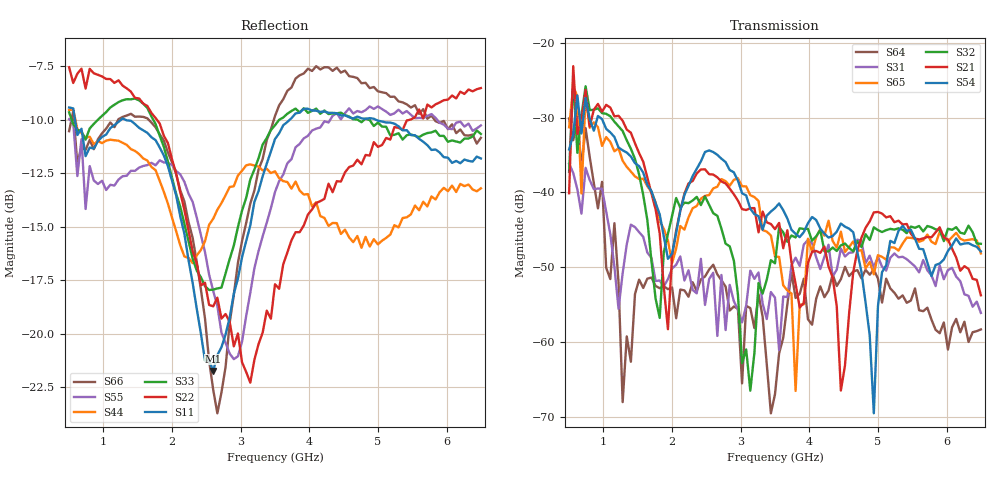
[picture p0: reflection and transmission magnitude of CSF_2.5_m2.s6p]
!Keysight Technologies,M9804A,MY58100912,A.14.10.03
!Date: Thursday, April 27, 2023 10:28:33
!Correction: S11(C  6-Port  )
!S12(C  6-Port  )
!S13(C  6-Port  )
!S14(C  6-Port  )
!S15(C  6-Port  )
!S16(C  6-Port  )
!S21(C  6-Port  )
!S22(C  6-Port  )
!S23(C  6-Port  )
!S24(C  6-Port  )
!S25(C  6-Port  )
!S26(C  6-Port  )
!S31(C  6-Port  )
!S32(C  6-Port  )
!S33(C  6-Port  )
!S34(C  6-Port  )
!S35(C  6-Port  )
!S36(C  6-Port  )
!S41(C  6-Port  )
!S42(C  6-Port  )
!S43(C  6-Port  )
!S44(C  6-Port  )
!S45(C  6-Port  )
!S46(C  6-Port  )
!S51(C  6-Port  )
!S52(C  6-Port  )
!S53(C  6-Port  )
!S54(C  6-Port  )
!S55(C  6-Port  )
!S56(C  6-Port  )
!S61(C  6-Port  )
!S62(C  6-Port  )
!S63(C  6-Port  )
!S64(C  6-Port  )
!S65(C  6-Port  )
!S66(C  6-Port  )
!S6P File: Measurement: :
# Hz S  RI  R 50
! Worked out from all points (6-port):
!   101 points, 500 MHz to 6.5 GHz, reference 50 ohm
!   strongest paths, dB at 500 MHz, 2 GHz, 3.5 GHz, 5 GHz, 6.5 GHz:
!     S54: -34.2, -48.2, -42.1, -55.2, -47.9
!     S21: -40.1, -48.5, -44.9, -42.6, -53.7
!     S32: -37.2, -43.1, -49.5, -45.0, -46.9
!     S65: -31.3, -49.4, -48.6, -48.4, -48.1
!     S31: -36.2, -50.2, -54.1, -48.6, -56.1
!     S64: -30.1, -52.7, -66.9, -51.5, -58.3
!   lowest |S11| = -21.7 dB at 2.6 GHz (marker M1), VSWR 1.18, Z = 42.7 + j1.96 ohm
!   |S11| at or under -10 dB: 585.3 MHz to 1.26 GHz (674.6 MHz wide, 73.1 % of centre); 1.316 GHz to 3.717 GHz (2.401 GHz wide, 95.4 % of centre); 4.967 GHz to end of sweep
